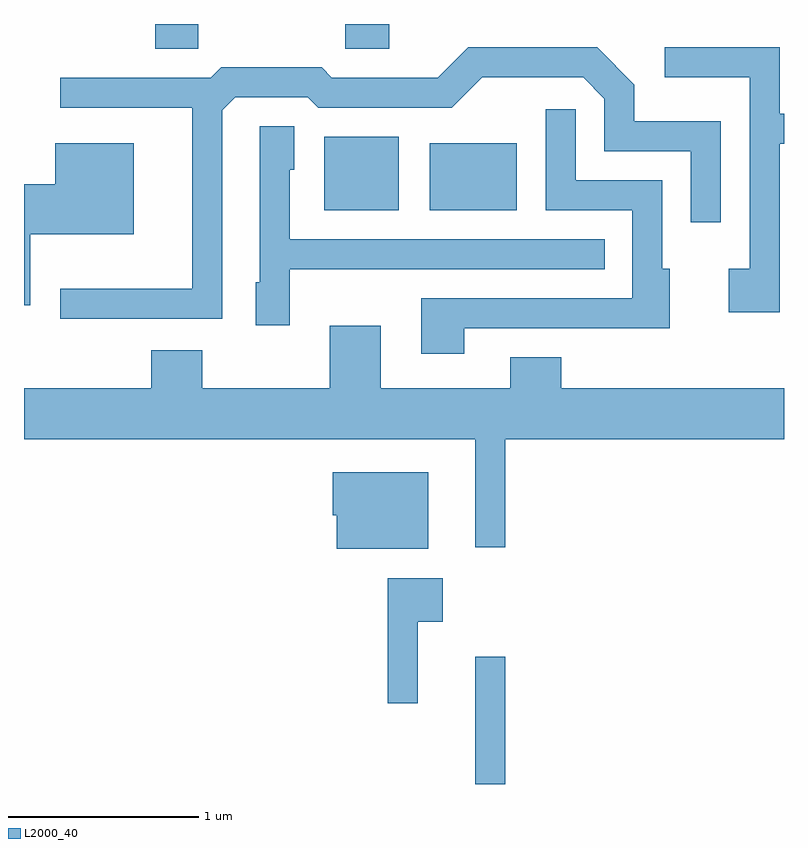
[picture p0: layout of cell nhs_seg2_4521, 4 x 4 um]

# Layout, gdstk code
import gdstk
lib = gdstk.Library(unit=1e-6, precision=1e-09)
def R(c, l, rs):  # rectangles x0, y0, x1, y1
    for r in rs: c.add(gdstk.rectangle(r[:2], r[2:], *l))
def P(c, l, *ps):  # polygons
    for p in ps: c.add(gdstk.Polygon(p, *l))
L2000_40 = (2000, 40)

nhs_seg2_4521 = lib.new_cell('nhs_seg2_4521')
R(nhs_seg2_4521, L2000_40, [(319.986,1079.802,320.144,1080.473), (319.191,1082.821,319.584,1083.209), (319.746,1082.821,320.204,1083.174), (318.301,1083.671,318.529,1083.802), (319.301,1083.671,319.534,1083.802)])
P(nhs_seg2_4521, L2000_40, [(318.654,1083.349),(318.722,1083.416),(319.104,1083.416),(319.159,1083.361),(319.862,1083.361),(320.022,1083.521),(320.554,1083.521),(320.666,1083.409),(320.666,1083.131),(321.121,1083.131),(321.121,1082.758),(321.279,1082.758),(321.279,1083.289),(320.824,1083.289),(320.824,1083.482),(320.627,1083.679),(319.949,1083.679),(319.789,1083.519),(319.232,1083.519),(319.177,1083.574),(318.649,1083.574),(318.594,1083.519),(317.803,1083.519),(317.803,1083.361),(318.496,1083.361),(318.496,1082.409),(317.803,1082.409),(317.803,1082.251),(318.654,1082.251)],
  [(321.589,1083.171),(321.611,1083.171),(321.611,1083.329),(321.589,1083.329),(321.589,1083.679),(320.983,1083.679),(320.983,1083.521),(321.431,1083.521),(321.431,1082.514),(321.321,1082.514),(321.321,1082.286),(321.589,1082.286)],
  [(319.929,1082.201),(321.009,1082.201),(321.009,1082.514),(320.969,1082.514),(320.969,1082.979),(320.514,1082.979),(320.514,1083.353),(320.356,1083.353),(320.356,1082.821),(320.811,1082.821),(320.811,1082.359),(319.701,1082.359),(319.701,1082.066),(319.929,1082.066)],
  [(319.009,1082.511),(320.668,1082.511),(320.668,1082.669),(319.009,1082.669),(319.009,1083.036),(319.034,1083.036),(319.034,1083.264),(318.851,1083.264),(318.851,1082.444),(318.831,1082.444),(318.831,1082.216),(319.009,1082.216)],
  [(317.644,1082.696),(318.189,1082.696),(318.189,1083.174),(317.776,1083.174),(317.776,1082.959),(317.611,1082.959),(317.611,1082.321),(317.644,1082.321)],
  [(320.144,1081.616),(321.611,1081.616),(321.611,1081.884),(320.439,1081.884),(320.439,1082.049),(320.171,1082.049),(320.171,1081.884),(319.489,1081.884),(319.489,1082.214),(319.221,1082.214),(319.221,1081.884),(318.549,1081.884),(318.549,1082.084),(318.281,1082.084),(318.281,1081.884),(317.611,1081.884),(317.611,1081.616),(319.986,1081.616),(319.986,1081.048),(320.144,1081.048)],
  [(319.739,1081.444),(319.236,1081.444),(319.236,1081.216),(319.256,1081.216),(319.256,1081.041),(319.739,1081.041)],
  [(319.684,1080.656),(319.814,1080.656),(319.814,1080.884),(319.526,1080.884),(319.526,1080.228),(319.684,1080.228)])

lib.write_gds('nhs_seg2_4521.gds')
